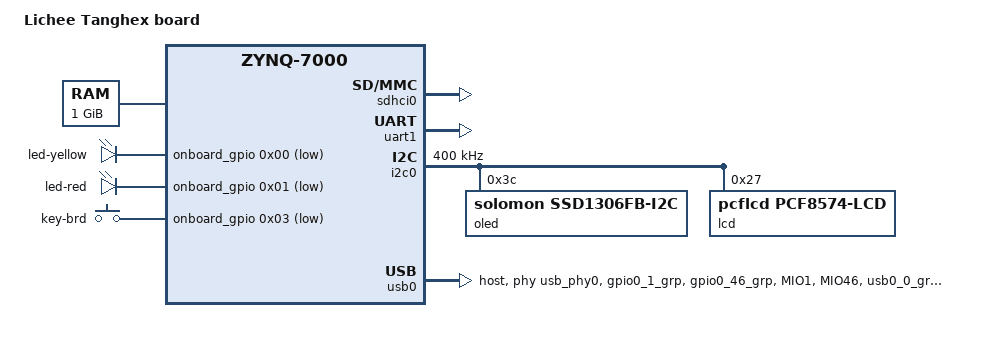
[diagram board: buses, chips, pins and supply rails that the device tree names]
// SPDX-License-Identifier: GPL-2.0+
/*
 *  Copyright (C) 2011 - 2015 Xilinx
 *  Copyright (C) 2012 National Instruments Corp.
 */
/dts-v1/;
#include "zynq-7000.dtsi"

/ {
	model = "Lichee Tanghex board";
	compatible = "xlnx,zynq-tanghex", "avnet,zynq-zed", "xlnx,zynq-zed", "xlnx,zynq-7000";

	aliases {
		serial0 = &uart1;
		mmc0 = &sdhci0;
		usb0 = &usb0;
		i2c0 = &i2c0;
	};

	memory@0 {
		device_type = "memory";
		reg = <0x0 0x40000000>;
	};

	chosen {
		bootargs = "console=ttyPS0,115200 root=/dev/mmcblk0p2 rw earlyprintk rootfstype=ext4 rootwait devtmpfs.mount=0";
		stdout-path = "serial0:115200n8";
	};

	usb_phy0: phy0@e0002000 {
		compatible = "ulpi-phy";
		#phy-cells = <0>;
		reg = <0xe0002000 0x1000>;
		view-port = <0x0170>;
		drv-vbus;
	};

	amba_pl {
		#address-cells = <0x01>;
		#size-cells = <0x01>;
		compatible = "simple-bus";
		ranges;

		axi_dma_0: dma@40400000 {
			#dma-cells = <1>;
			clock-names = "s_axi_lite_aclk", "m_axi_mm2s_aclk";
			clocks = <&clkc 15>, <&clkc 15>;
			compatible = "xlnx,axi-dma-7.1", "xlnx,axi-dma-1.00.a";
			interrupt-names = "mm2s_introut";
			interrupt-parent = <&intc>;
			interrupts = <0 29 4>;
			reg = <0x40400000 0x10000>;
			xlnx,addrwidth = <0x20>;
			xlnx,sg-length-width = <0x18>;
			dma-channel@40400000 {
				compatible = "xlnx,axi-dma-mm2s-channel";
				dma-channels = <0x1>;
				interrupts = <0 29 4>;
				xlnx,datawidth = <0x20>;
				xlnx,device-id = <0x0>;
				xlnx,include-dre ;
			};
		};

        onboard_gpio: gpio@41200000 {
			#gpio-cells = <2>;
			#interrupt-cells = <2>;
			clock-names = "s_axi_aclk";
			clocks = <&clkc 15>;
			compatible = "xlnx,axi-gpio-2.0", "xlnx,xps-gpio-1.00.a";
			gpio-controller ;
			interrupt-controller ;
			interrupt-names = "ip2intc_irpt";
			interrupt-parent = <&intc>;
			interrupts = <0 30 4>;
			reg = <0x41200000 0x2000>;
			xlnx,all-inputs = <0x0>;
			xlnx,all-inputs-2 = <0x1>;
			xlnx,all-outputs = <0x1>;
			xlnx,all-outputs-2 = <0x0>;
			xlnx,dout-default = <0x00000000>;
			xlnx,dout-default-2 = <0x00000000>;
			xlnx,gpio-width = <0x3>;
			xlnx,gpio2-width = <0x5>;
			xlnx,interrupt-present = <0x1>;
			xlnx,is-dual = <0x1>;
			xlnx,tri-default = <0xFFFFFFFF>;
			xlnx,tri-default-2 = <0xFFFFFFFF>;
		};

        sha256@43C00000 {
            compatible = "sha256";
			reg = <0x43C00000 0x4000>;
			dmas = <&axi_dma_0 0>;
			dma-names = "tx";
        };
	};

	gpio-leds {
		compatible = "gpio-leds";

		onboard-led-yellow {
			label = "led-yellow";
			gpios = <&onboard_gpio 0x00 1>;
			default-state = "off";
			linux,default-trigger = "heartbeat";
		};

		onboard-led-red {
			label = "led-red";
			gpios = <&onboard_gpio 0x01 1>;
			default-state = "off";
			linux,default-trigger = "mmc0";
		};
	};

	gpio-keys {
		compatible = "gpio-keys";
		autorepeat;
		key-brd {
			label = "key-brd";
			gpios = <&onboard_gpio 0x03 1>;
			linux,code = <0x66>;
			wakeup-source;
			autorepeat;
		};
	};
};

&clkc {
	ps-clk-frequency = <33333333>;
};

&sdhci0 {
	u-boot,dm-pre-reloc;
	status = "okay";
};

&uart1 {
	u-boot,dm-pre-reloc;
	status = "okay";
};

&i2c0 {
    status = "okay";
    clock-frequency = <400000>;

    oled@3c {
        compatible = "solomon,ssd1306fb-i2c";
        reg = <0x3c>;
        solomon,height = <64>;
        solomon,width = <128>;
        solomon,page-offset = <0>;
        solomon,com-invdir;
    };

	lcd@27 {
		compatible = "pcflcd,pcf8574-lcd";
		reg = <0x27>;
		lcd,cols = <16>;
		lcd,rows = <2>;
		lcd,oled;
	};
};

&usb0 {
	status = "okay";
	dr_mode = "host";
	usb-phy = <&usb_phy0>;

	pinctrl-names = "default";
    pinctrl-0 = <&pinctrl_usb0_default>;
};

&pinctrl0 {
	pinctrl_usb0_default: usb0-default {
		mux-rst {
			function = "gpio0";
			groups = "gpio0_1_grp", "gpio0_46_grp";
		};

		conf-rst {
			pins = "MIO1", "MIO46";
			bias-high-impedance;
			bias-pull-up;

            slew-rate = <0>;
			io-standard = <1>;
		};

		mux {
			groups = "usb0_0_grp";
			function = "usb0";
		};

		conf {
			groups = "usb0_0_grp";
			slew-rate = <0>;
			io-standard = <1>;
		};

		conf-rx {
			pins = "MIO29", "MIO31", "MIO36";
			bias-high-impedance;
		};

		conf-tx {
			pins = "MIO28", "MIO30", "MIO32", "MIO33", "MIO34",
			       "MIO35", "MIO37", "MIO38", "MIO39";
			bias-disable;
		};
	};
};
